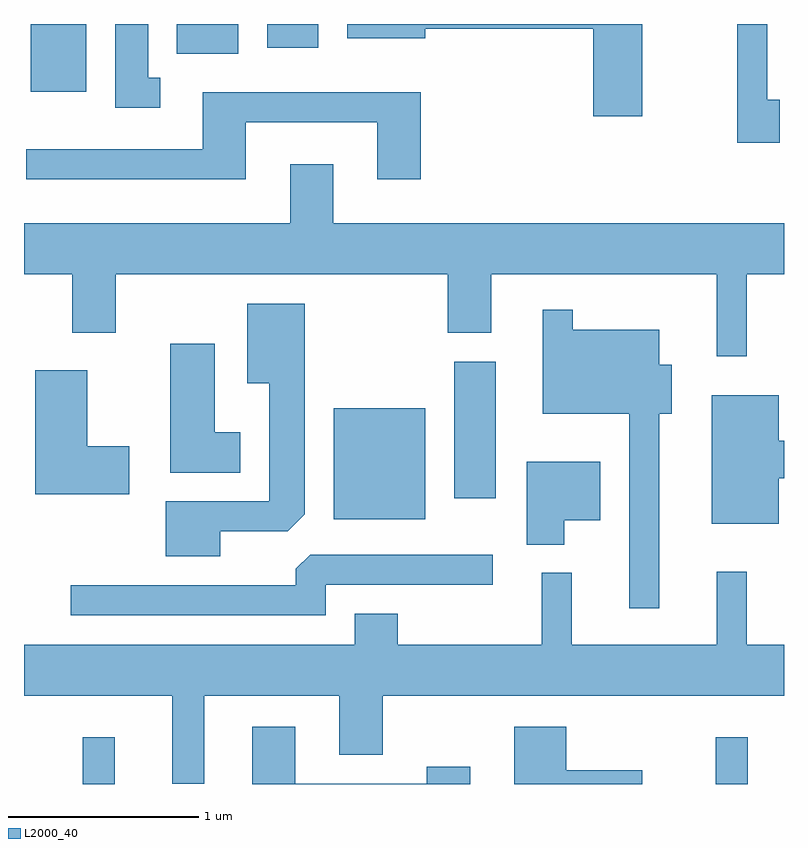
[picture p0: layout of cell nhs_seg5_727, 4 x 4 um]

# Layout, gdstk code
import gdstk
lib = gdstk.Library(unit=1e-6, precision=1e-09)
def R(c, l, rs):  # rectangles x0, y0, x1, y1
    for r in rs: c.add(gdstk.rectangle(r[:2], r[2:], *l))
def P(c, l, *ps):  # polygons
    for p in ps: c.add(gdstk.Polygon(p, *l))
L2000_40 = (2000, 40)

nhs_seg5_727 = lib.new_cell('nhs_seg5_727')
R(nhs_seg5_727, L2000_40, [(205.921,1494.072,206.089,1494.318), (209.251,1494.072,209.419,1494.318), (207.241,1495.466,207.724,1496.049), (207.876,1495.576,208.094,1496.294), (205.646,1497.716,205.939,1498.072), (206.416,1497.916,206.739,1498.072), (206.891,1497.946,207.159,1498.072)])
P(nhs_seg5_727, L2000_40, [(209.589,1497.674),(209.524,1497.674),(209.524,1498.072),(209.366,1498.072),(209.366,1497.446),(209.589,1497.446)],
  [(208.864,1498.072),(207.311,1498.072),(207.311,1497.996),(207.724,1497.996),(207.724,1498.046),(208.606,1498.046),(208.606,1497.586),(208.864,1497.586)],
  [(206.328,1497.789),(206.264,1497.789),(206.264,1498.072),(206.091,1498.072),(206.091,1497.631),(206.328,1497.631)],
  [(206.779,1497.556),(207.471,1497.556),(207.471,1497.256),(207.699,1497.256),(207.699,1497.714),(206.551,1497.714),(206.551,1497.414),(205.623,1497.414),(205.623,1497.256),(206.779,1497.256)],
  [(209.414,1496.756),(209.611,1496.756),(209.611,1497.024),(207.239,1497.024),(207.239,1497.334),(207.011,1497.334),(207.011,1497.024),(205.611,1497.024),(205.611,1496.756),(205.866,1496.756),(205.866,1496.446),(206.094,1496.446),(206.094,1496.756),(207.841,1496.756),(207.841,1496.446),(208.069,1496.446),(208.069,1496.756),(209.256,1496.756),(209.256,1496.323),(209.414,1496.323)],
  [(206.644,1495.401),(206.999,1495.401),(207.089,1495.492),(207.089,1496.599),(206.786,1496.599),(206.786,1496.181),(206.901,1496.181),(206.901,1495.559),(206.356,1495.559),(206.356,1495.271),(206.644,1495.271)],
  [(208.954,1496.021),(209.019,1496.021),(209.019,1496.279),(208.954,1496.279),(208.954,1496.464),(208.499,1496.464),(208.499,1496.568),(208.341,1496.568),(208.341,1496.021),(208.796,1496.021),(208.796,1494.998),(208.954,1494.998)],
  [(206.749,1495.924),(206.614,1495.924),(206.614,1496.389),(206.381,1496.389),(206.381,1495.711),(206.749,1495.711)],
  [(206.164,1495.849),(205.944,1495.849),(205.944,1496.249),(205.671,1496.249),(205.671,1495.596),(206.164,1495.596)],
  [(209.584,1495.681),(209.611,1495.681),(209.611,1495.879),(209.584,1495.879),(209.584,1496.119),(209.231,1496.119),(209.231,1495.441),(209.584,1495.441)],
  [(208.454,1495.461),(208.644,1495.461),(208.644,1495.769),(208.256,1495.769),(208.256,1495.331),(208.454,1495.331)],
  [(207.199,1495.121),(208.078,1495.121),(208.078,1495.279),(207.117,1495.279),(207.041,1495.204),(207.041,1495.119),(205.858,1495.119),(205.858,1494.961),(207.199,1494.961)],
  [(206.559,1494.536),(207.271,1494.536),(207.271,1494.226),(207.499,1494.226),(207.499,1494.536),(209.611,1494.536),(209.611,1494.804),(209.414,1494.804),(209.414,1495.188),(209.256,1495.188),(209.256,1494.804),(208.494,1494.804),(208.494,1495.183),(208.336,1495.183),(208.336,1494.804),(207.579,1494.804),(207.579,1494.969),(207.351,1494.969),(207.351,1494.804),(205.611,1494.804),(205.611,1494.536),(206.391,1494.536),(206.391,1494.073),(206.559,1494.073)],
  [(207.959,1494.164),(207.731,1494.164),(207.731,1494.074),(207.039,1494.074),(207.039,1494.374),(206.811,1494.374),(206.811,1494.072),(207.959,1494.072)],
  [(208.864,1494.144),(208.464,1494.144),(208.464,1494.374),(208.191,1494.374),(208.191,1494.072),(208.864,1494.072)])

lib.write_gds('nhs_seg5_727.gds')
